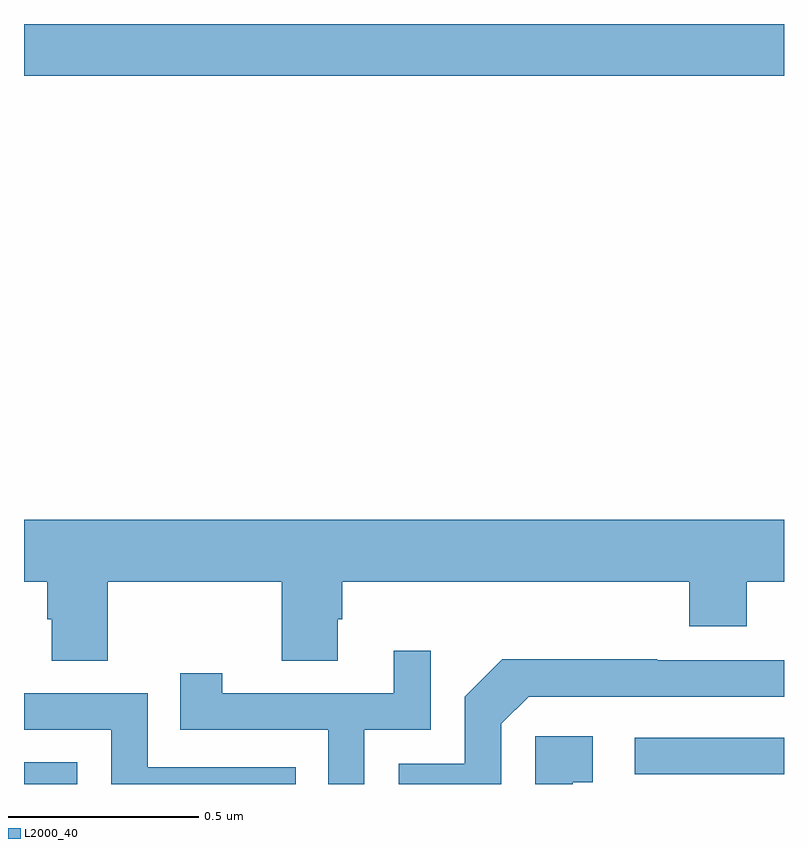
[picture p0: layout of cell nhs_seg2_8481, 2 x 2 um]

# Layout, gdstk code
import gdstk
lib = gdstk.Library(unit=1e-6, precision=1e-09)
def R(c, l, rs):  # rectangles x0, y0, x1, y1
    for r in rs: c.add(gdstk.rectangle(r[:2], r[2:], *l))
def P(c, l, *ps):  # polygons
    for p in ps: c.add(gdstk.Polygon(p, *l))
L2000_40 = (2000, 40)

nhs_seg2_8481 = lib.new_cell('nhs_seg2_8481')
R(nhs_seg2_8481, L2000_40, [(217,617.8,217.14,617.857), (218.607,617.826,219,617.922), (217,619.664,219,619.8)])
P(nhs_seg2_8481, L2000_40, [(217.221,618.332),(217.678,618.332),(217.678,618.124),(217.825,618.124),(217.825,618.234),(217.838,618.234),(217.838,618.332),(218.75,618.332),(218.75,618.215),(218.902,618.215),(218.902,618.332),(219,618.332),(219,618.496),(217,618.496),(217,618.332),(217.061,618.332),(217.061,618.234),(217.073,618.234),(217.073,618.124),(217.221,618.124)],
  [(217.896,617.943),(218.07,617.943),(218.07,618.151),(217.973,618.151),(217.973,618.039),(217.522,618.039),(217.522,618.091),(217.411,618.091),(217.411,617.943),(217.8,617.943),(217.8,617.8),(217.896,617.8)],
  [(218.256,617.958),(218.328,618.03),(219,618.03),(219,618.126),(218.666,618.126),(218.666,618.128),(218.258,618.128),(218.16,618.03),(218.16,617.853),(217.986,617.853),(217.986,617.8),(218.256,617.8)],
  [(217.715,617.844),(217.326,617.844),(217.326,618.039),(217,618.039),(217,617.943),(217.23,617.943),(217.23,617.8),(217.715,617.8)],
  [(218.444,617.805),(218.497,617.805),(218.497,617.926),(218.346,617.926),(218.346,617.8),(218.444,617.8)])

lib.write_gds('nhs_seg2_8481.gds')
